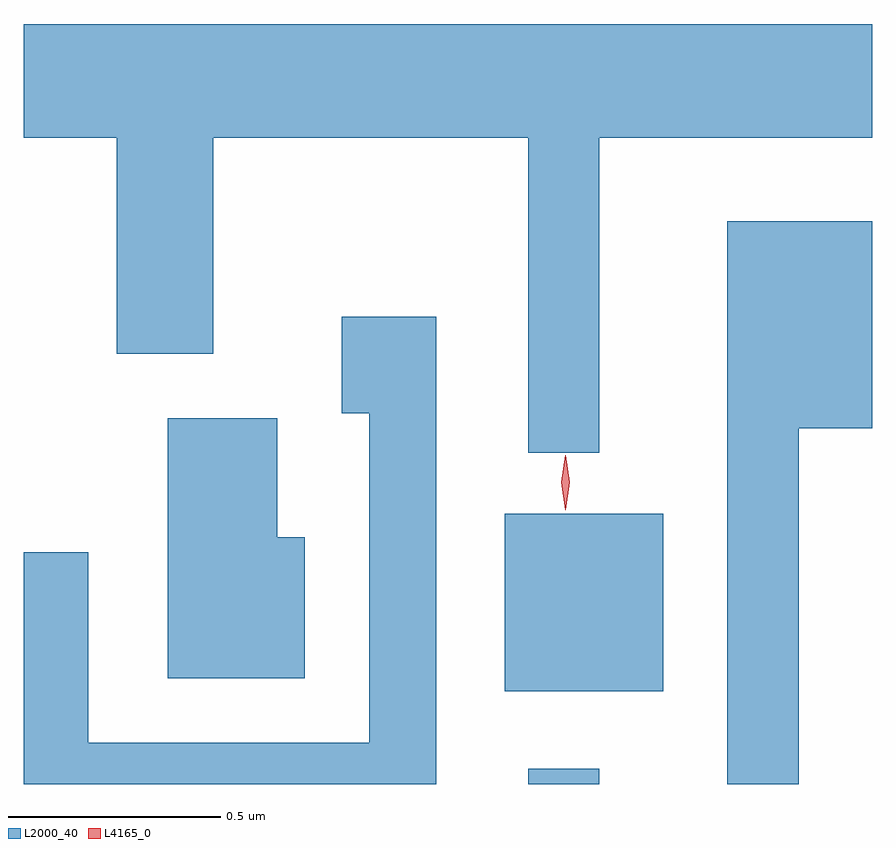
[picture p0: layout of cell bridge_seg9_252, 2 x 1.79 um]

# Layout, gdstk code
import gdstk
lib = gdstk.Library(unit=1e-6, precision=1e-09)
def R(c, l, rs):  # rectangles x0, y0, x1, y1
    for r in rs: c.add(gdstk.rectangle(r[:2], r[2:], *l))
def P(c, l, *ps):  # polygons
    for p in ps: c.add(gdstk.Polygon(p, *l))
L2000_40 = (2000, 40)
L4165_0 = (4165, 0)

bridge_seg9_252 = lib.new_cell('bridge_seg9_252')
R(bridge_seg9_252, L2000_40, [(1429.321,1956.992,1429.489,1957.028), (1429.266,1957.211,1429.639,1957.629)])
P(bridge_seg9_252, L2000_40, [(1429.489,1958.516),(1430.132,1958.516),(1430.132,1958.784),(1428.132,1958.784),(1428.132,1958.516),(1428.351,1958.516),(1428.351,1958.006),(1428.579,1958.006),(1428.579,1958.516),(1429.321,1958.516),(1429.321,1957.773),(1429.489,1957.773)],
  [(1429.959,1957.831),(1430.132,1957.831),(1430.132,1958.319),(1429.791,1958.319),(1429.791,1956.992),(1429.959,1956.992)],
  [(1429.104,1958.094),(1428.881,1958.094),(1428.881,1957.866),(1428.946,1957.866),(1428.946,1957.089),(1428.284,1957.089),(1428.284,1957.538),(1428.132,1957.538),(1428.132,1956.992),(1429.104,1956.992)],
  [(1428.794,1957.574),(1428.729,1957.574),(1428.729,1957.854),(1428.471,1957.854),(1428.471,1957.241),(1428.794,1957.241)])
P(bridge_seg9_252, L4165_0, [(1429.409,1957.638),(1429.409,1957.639),(1429.399,1957.703),(1429.409,1957.767),(1429.409,1957.767),(1429.41,1957.767),(1429.419,1957.703),(1429.41,1957.639)])

lib.write_gds('bridge_seg9_252.gds')
